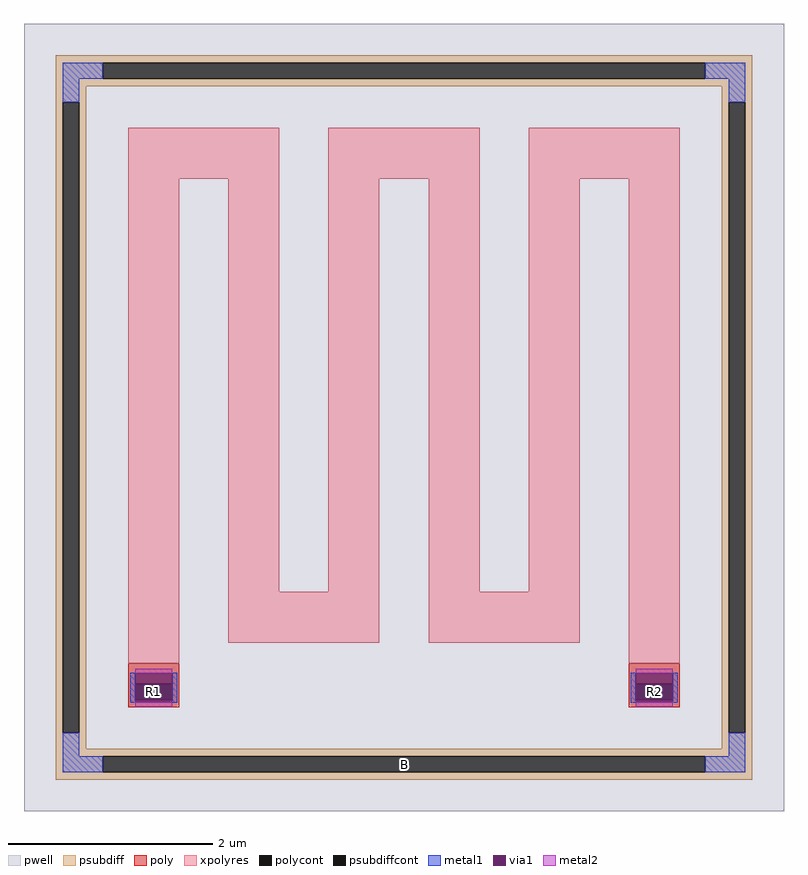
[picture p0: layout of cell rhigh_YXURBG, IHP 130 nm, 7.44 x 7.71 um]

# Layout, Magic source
magic
tech ihp-sg13g2
magscale 1 2
<< pwell >>
rect -744 -771 744 771
<< psubdiff >>
rect -682 695 682 709
rect -682 663 -590 695
rect 590 663 682 695
rect -682 649 682 663
rect -682 617 -622 649
rect -682 -617 -668 617
rect -636 -617 -622 617
rect 622 617 682 649
rect -682 -649 -622 -617
rect 622 -617 636 617
rect 668 -617 682 617
rect 622 -649 682 -617
rect -682 -663 682 -649
rect -682 -695 -590 -663
rect 590 -695 682 -663
rect -682 -709 682 -695
<< psubdiffcont >>
rect -590 663 590 695
rect -668 -617 -636 617
rect 636 -617 668 617
rect -590 -695 590 -663
<< poly >>
rect -540 -521 -440 -481
rect -540 -553 -526 -521
rect -454 -553 -440 -521
rect -540 -567 -440 -553
rect 440 -521 540 -481
rect 440 -553 454 -521
rect 526 -553 540 -521
rect 440 -567 540 -553
<< polycont >>
rect -526 -553 -454 -521
rect 454 -553 526 -521
<< xpolyres >>
rect -540 467 -244 567
rect -540 -481 -440 467
rect -344 -341 -244 467
rect -148 467 148 567
rect -148 -341 -48 467
rect -344 -441 -48 -341
rect 48 -341 148 467
rect 244 467 540 567
rect 244 -341 344 467
rect 48 -441 344 -341
rect 440 -481 540 467
<< metal1 >>
rect -668 663 -590 695
rect 590 663 668 695
rect -668 617 -636 663
rect 636 617 668 663
rect -536 -501 -444 -500
rect -536 -557 -526 -501
rect -454 -557 -444 -501
rect -536 -558 -444 -557
rect 444 -501 536 -500
rect 444 -557 454 -501
rect 526 -557 536 -501
rect 444 -558 536 -557
rect -668 -663 -636 -617
rect 636 -663 668 -617
rect -668 -695 -590 -663
rect 590 -695 668 -663
<< via1 >>
rect -526 -521 -454 -501
rect -526 -553 -454 -521
rect -526 -557 -454 -553
rect 454 -521 526 -501
rect 454 -553 526 -521
rect 454 -557 526 -553
<< metal2 >>
rect -526 -501 -454 -492
rect -526 -566 -454 -557
rect 454 -501 526 -492
rect 454 -566 526 -557
<< labels >>
rlabel psubdiffcont 0 -679 0 -679 0 B
port 1 nsew
rlabel polycont -490 -537 -490 -537 0 R1
port 2 nsew
rlabel polycont 490 -537 490 -537 0 R2
port 3 nsew
<< properties >>
string FIXED_BBOX -652 -679 652 679
string gencell rhigh
string library sg13g2
string parameters w 0.50 l 5.04 m 1 nx 6 wmin 0.50 lmin 0.50 class resistor rho 1360 val 89.052k dummy 0 dw 0.0 term 0.0 sterm 0.0 caplen 0 guard 1 glc 1 grc 1 gtc 1 gbc 1 snake 1 full_metal 1 n_guard 0 hv_guard 0 vias 1 viagb 0 viagt 0 viagl 0 viagr 0 doports 1
<< end >>
